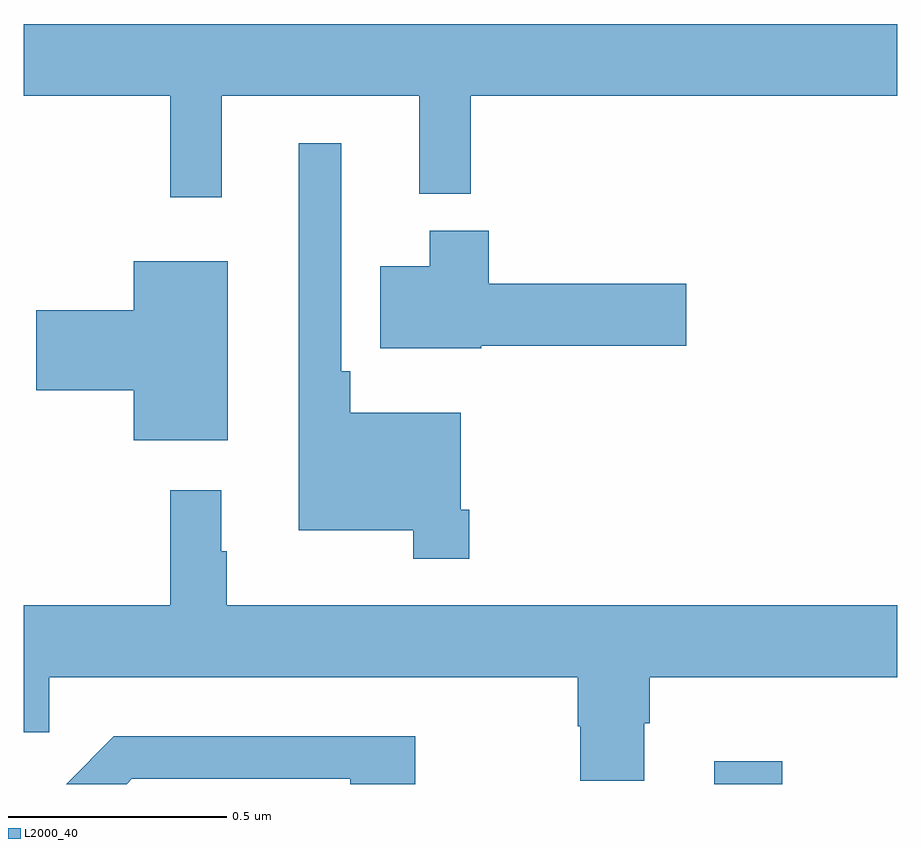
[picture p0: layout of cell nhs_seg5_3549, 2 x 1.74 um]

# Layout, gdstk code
import gdstk
lib = gdstk.Library(unit=1e-6, precision=1e-09)
def R(c, l, rs):  # rectangles x0, y0, x1, y1
    for r in rs: c.add(gdstk.rectangle(r[:2], r[2:], *l))
def P(c, l, *ps):  # polygons
    for p in ps: c.add(gdstk.Polygon(p, *l))
L2000_40 = (2000, 40)

nhs_seg5_3549 = lib.new_cell('nhs_seg5_3549')
R(nhs_seg5_3549, L2000_40, [(159.581,905.799,159.737,905.851)])
P(nhs_seg5_3549, L2000_40, [(158.453,907.376),(158.906,907.376),(158.906,907.151),(159.023,907.151),(159.023,907.376),(160,907.376),(160,907.54),(158,907.54),(158,907.376),(158.335,907.376),(158.335,907.143),(158.453,907.143)],
  [(159.02,906.427),(159,906.427),(159,906.649),(158.747,906.649),(158.747,906.745),(158.727,906.745),(158.727,907.267),(158.63,907.267),(158.63,906.38),(158.892,906.38),(158.892,906.315),(159.02,906.315)],
  [(159.048,906.803),(159.517,906.803),(159.517,906.945),(159.065,906.945),(159.065,907.066),(158.93,907.066),(158.93,906.985),(158.816,906.985),(158.816,906.797),(159.048,906.797)],
  [(158.467,906.997),(158.252,906.997),(158.252,906.884),(158.028,906.884),(158.028,906.701),(158.252,906.701),(158.252,906.587),(158.467,906.587)],
  [(159.421,905.938),(159.434,905.938),(159.434,906.044),(160,906.044),(160,906.208),(158.464,906.208),(158.464,906.332),(158.452,906.332),(158.452,906.472),(158.335,906.472),(158.335,906.208),(158,906.208),(158,905.918),(158.058,905.918),(158.058,906.044),(159.269,906.044),(159.269,905.931),(159.274,905.931),(159.274,905.806),(159.421,905.806)],
  [(158.247,905.811),(158.747,905.811),(158.747,905.799),(158.896,905.799),(158.896,905.908),(158.206,905.908),(158.097,905.799),(158.235,905.799)])

lib.write_gds('nhs_seg5_3549.gds')
